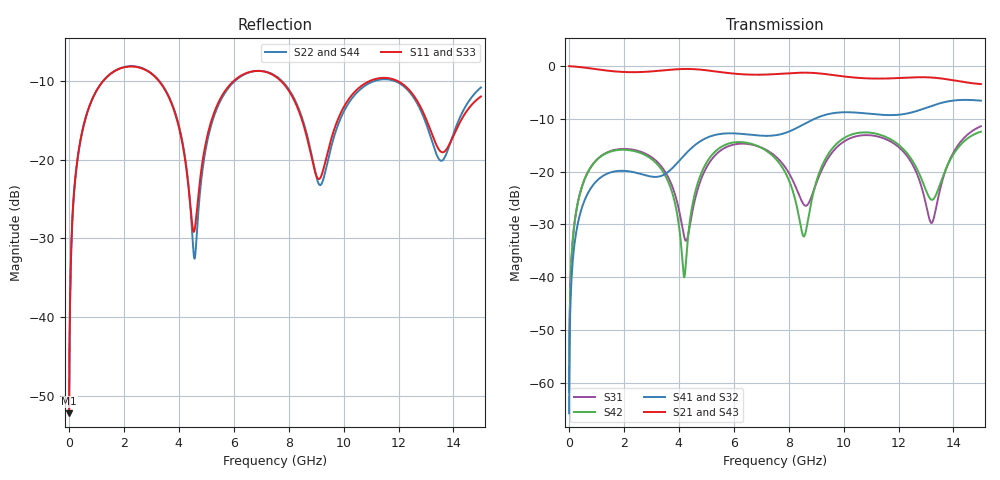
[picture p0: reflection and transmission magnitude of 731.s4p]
! Created with skrf 1.8.0 (http://scikit-rf.org).
# GHz S RI R 50.0
!freq ReS11 ImS11 ReS12 ImS12 ReS13 ImS13
! ReS14 ImS14
! ReS21 ImS21 ReS22 ImS22 ReS23 ImS23
! ReS24 ImS24
! ReS31 ImS31 ReS32 ImS32 ReS33 ImS33
! ReS34 ImS34
! ReS41 ImS41 ReS42 ImS42 ReS43 ImS43
! ReS44 ImS44
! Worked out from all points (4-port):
!   2499 points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, 5 MHz to 15 GHz, reference 50 ohm
!   strongest paths, dB at 5 MHz, 3.476 GHz, 7.19 GHz, 11.1 GHz, 15 GHz:
!     S21: 0.0, -0.8, -1.6, -2.4, -3.4
!     S43: 0.0, -0.8, -1.6, -2.4, -3.4
!     S41: -65.8, -20.5, -13.2, -9.1, -6.6
!     S32: -65.8, -20.6, -13.2, -9.1, -6.6
!     S42: -61.8, -20.5, -16.1, -12.7, -12.4
!     S31: -61.8, -19.8, -15.9, -13.2, -11.4
!   lowest |S11| = -52.2 dB at 5 MHz (marker M1), VSWR 1.00, Z = 50.2 + j0.149 ohm
!   |S11| at or under -10 dB: 3.264 GHz to 6.011 GHz (2.746 GHz wide, 59.2 % of centre); 7.709 GHz to 10.98 GHz (3.269 GHz wide, 35 % of centre); 11.94 GHz to end of sweep (the widest 3 of 4)
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0.005  0.00196 0.00149  0.998 -0.00382  0.000101 0.000809  -9.76e-05 -0.000503
       0.998 -0.00382  0.00196 0.00149  -9.76e-05 -0.000503  0.000101 0.000809
       0.000101 0.000809  -9.76e-05 -0.000503  0.00196 0.00149  0.998 -0.00382
       -9.76e-05 -0.000503  0.000101 0.000809  0.998 -0.00382  0.00196 0.00149
0.3126303  0.0326 0.096  0.9552 -0.2356  0.0161 0.0468  -0.0131 -0.0284
           0.9552 -0.2356  0.0327 0.0959  -0.0131 -0.0284  0.0156 0.0469
           0.0161 0.0468  -0.0131 -0.0284  0.0326 0.0959  0.9552 -0.2356
           -0.0131 -0.0284  0.0156 0.0469  0.9552 -0.2356  0.0327 0.0959
1.3193  0.2746 0.1747  0.5365 -0.7352  0.1367 0.0591  -0.0936 -0.00392
        0.5365 -0.7352  0.2763 0.1735  -0.0935 -0.00401  0.1321 0.0656
        0.1367 0.0591  -0.0935 -0.00401  0.2747 0.1746  0.5365 -0.7352
        -0.0936 -0.00392  0.1321 0.0656  0.5365 -0.7352  0.2763 0.1735
4.445602  0.0359 -0.0284  -0.926 -0.1472  -0.0182 0.0307  -0.0216 0.1643
          -0.926 -0.1472  0.0251 -0.0359  -0.0233 0.1641  0.0136 0.0382
          -0.0182 0.0307  -0.0233 0.1641  0.0346 -0.0294  -0.9259 -0.1472
          -0.0216 0.1643  0.0136 0.0382  -0.9259 -0.1472  0.0267 -0.0366
9.178825  0.0772 0.0118  0.8413 0.1172  -0.0115 0.0996  0.0332 -0.3332
          0.8413 0.1172  0.0694 0.00133  0.0391 -0.3327  0.0146 0.1066
          -0.0115 0.0996  0.0391 -0.3327  0.0766 0.00884  0.8413 0.1164
          0.0332 -0.3332  0.0146 0.1066  0.8413 0.1164  0.0708 -0.00311
12.03627  0.2984 -0.0846  -0.0887 -0.7659  0.1114 -0.1259  -0.3308 0.103
          -0.0887 -0.7659  0.2934 -0.0811  -0.3325 0.0945  0.1103 -0.1381
          0.1114 -0.1259  -0.3325 0.0945  0.298 -0.0853  -0.093 -0.7657
          -0.3308 0.103  0.1103 -0.1381  -0.093 -0.7657  0.2902 -0.0835
15  0.2439 0.0595  -0.5784 0.3485  0.262 0.0618  0.3264 0.3385
    -0.5784 0.3485  0.2723 0.0891  0.3155 0.3451  0.218 0.0981
    0.262 0.0618  0.3155 0.3451  0.2482 0.0552  -0.5753 0.3545
    0.3264 0.3385  0.218 0.0981  -0.5753 0.3545  0.2665 0.0833
